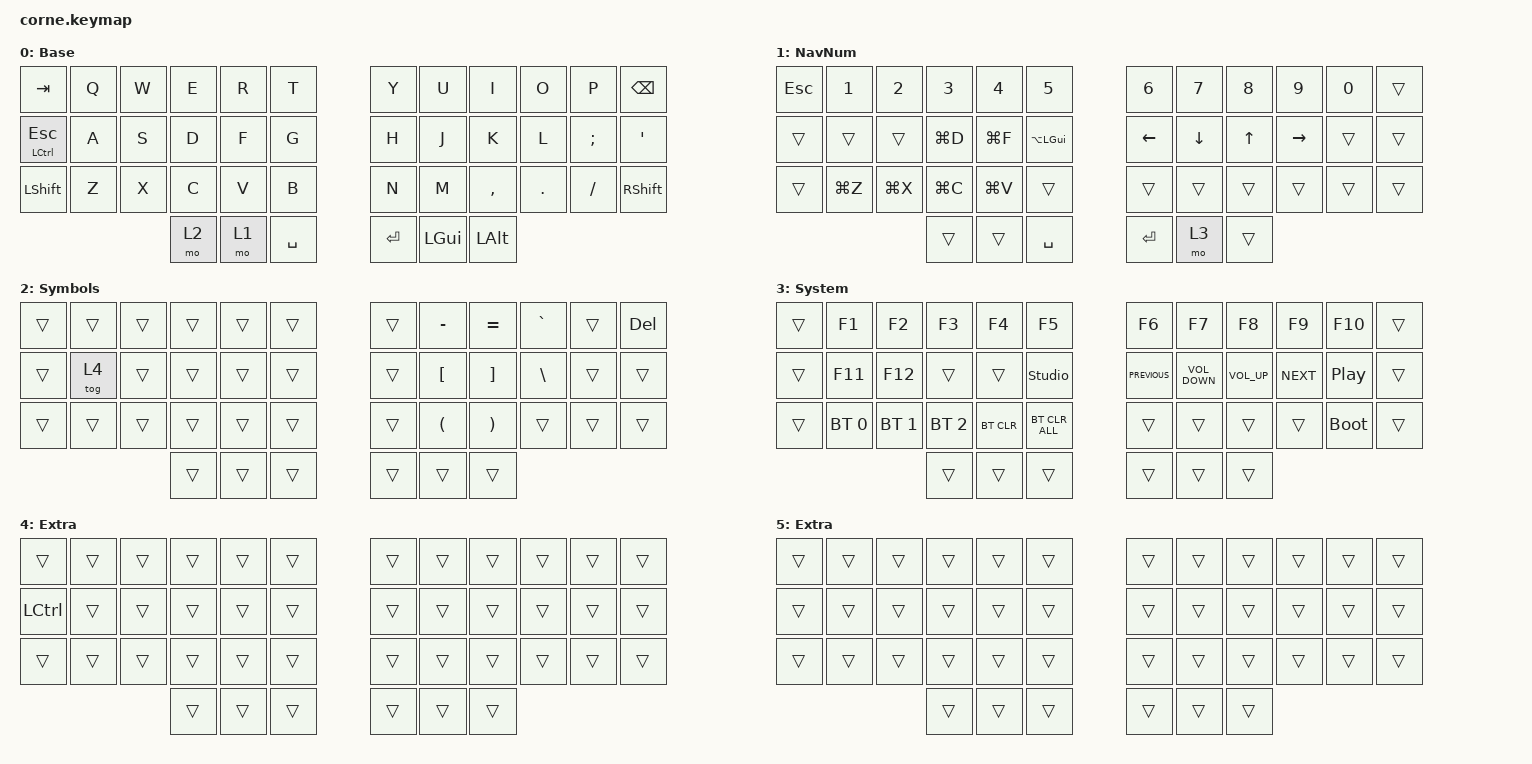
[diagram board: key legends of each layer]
#include <behaviors.dtsi>
#include <dt-bindings/zmk/bt.h>
#include <dt-bindings/zmk/keys.h>

#define DEF 0
#define NAV 1
#define SYM 2
#define ADJ 3
#define EXTRA 4

/ {
    behaviors {
        hm: homerow_mods {
            compatible = "zmk,behavior-hold-tap";
            #binding-cells = <2>;
            tapping-term-ms = <200>;
            flavor = "tap-preferred";
            bindings = <&kp>, <&kp>;

            quick-tap-ms = <180>;
            require-prior-idle-ms = <120>; /* tune to taste */
        };

        para: para {
            compatible = "zmk,behavior-tap-dance";
            #binding-cells = <0>;
            bindings = <&kp LEFT_PARENTHESIS>, <&kp RIGHT_PARENTHESIS>;
        };

        caps: caps {
            compatible = "zmk,behavior-caps-word";
            #binding-cells = <0>;
            continue-list = <MINUS BACKSPACE>;
        };

        paraless: paraless {
            compatible = "zmk,behavior-mod-morph";
            bindings = <&kp LEFT_PARENTHESIS>, <&kp LESS_THAN>;

            #binding-cells = <0>;
            mods = <(MOD_LSFT)>;
        };

        paragreat: paragreat {
            compatible = "zmk,behavior-mod-morph";
            bindings = <&kp RIGHT_PARENTHESIS>, <&kp GREATER_THAN>;

            #binding-cells = <0>;
            mods = <(MOD_LSFT)>;
        };
    };

    combos {
        compatible = "zmk,combos";

        CB_LEFT_GUI {
            bindings = <&kp LEFT_GUI>;
            key-positions = <17 29>;
        };

        CB_LEFT_ALT {
            bindings = <&kp LEFT_ALT>;
            key-positions = <16 28>;
        };

        CB_RIGHT_GUI {
            bindings = <&kp LEFT_GUI>;
            key-positions = <18 30>;
        };

        CB_RIGHT_ALT {
            bindings = <&kp LEFT_ALT>;
            key-positions = <19 31>;
        };
    };

    //

    keymap {
        compatible = "zmk,keymap";

        DEF {
            display-name = "Base";

            // -----------------------------------------------------------------------------------------
            // |  Q  |  W  |  E  |  R  |  T  |   |  Y  |  U   |  I  |  O  |  P  |
            // |  A  |  S  |  D  |  F  |  G  |   |  H  |  J   |  K  |  L  |  ;  |
            // |  Z  |  X  |  C  |  V  |  B  |   |  N  |  M   |  ,  |  .  |  /  |
            // | GUI | CTRL | SHFT | LWR | SPC |   | ENT | RSE  | BKSP | ALT | ESC |

            bindings = <
&kp TAB           &kp Q  &kp W  &kp E  &kp R  &kp T        &kp Y    &kp U         &kp I         &kp O    &kp P     &kp BACKSPACE
&mt LCTRL ESCAPE  &kp A  &kp S  &kp D  &kp F  &kp G        &kp H    &kp J         &kp K         &kp L    &kp SEMI  &kp SQT
&kp LEFT_SHIFT    &kp Z  &kp X  &kp C  &kp V  &kp B        &kp N    &kp M         &kp COMMA     &kp DOT  &kp FSLH  &kp RIGHT_SHIFT
                                &mo 2  &mo 1  &kp SPACE    &kp RET  &kp LEFT_GUI  &kp LEFT_ALT
            >;
        };

        NAV {
            display-name = "NavNum";

            // -----------------------------------------------------------------------------------------
            // |  TAB |  1  |  2  |  3  |  4  |  5  |   |  6  |  7  |  8  |  9  |  0  | BKSP |
            // | BTCLR| BT1 | BT2 | BT3 | BT4 | BT5 |   | LFT | DWN |  UP | RGT |     |      |
            // | SHFT |     |     |     |     |     |   |     |     |     |     |     |      |
            // | GUI | CTRL | SHFT | LWR | SPC |   | ENT | RSE  | BKSP | ALT | ESC |

            bindings = <
&kp ESCAPE  &kp NUMBER_1  &kp NUMBER_2  &kp NUMBER_3  &kp NUMBER_4  &kp N5              &kp N6    &kp N7    &kp N8  &kp N9     &kp N0  &trans
&trans      &trans        &trans        &kp LG(D)     &kp LG(F)     &kp LA(LEFT_GUI)    &kp LEFT  &kp DOWN  &kp UP  &kp RIGHT  &trans  &trans
&trans      &kp LG(Z)     &kp LG(X)     &kp LG(C)     &kp LG(V)     &trans              &trans    &trans    &trans  &trans     &trans  &trans
                                        &trans        &trans        &kp SPACE           &kp RET   &mo 3     &trans
            >;
        };

        SYM {
            display-name = "Symbols";

            // -----------------------------------------------------------------------------------------
            // |  TAB |  !  |  @  |  #  |  $  |  %  |   |  ^  |  &  |  *  |  (  |  )  | BKSP |
            // | CTRL |     |     |     |     |     |   |  -  |  =  |  [  |  ]  |  \  |  `   |
            // | SHFT |     |     |     |     |     |   |  _  |  +  |  {  |  }  | "|" |  ~   |
            //                    | GUI |     | SPC |   | ENT |     | ALT |

            bindings = <
&trans  &trans  &trans  &trans  &trans  &trans    &trans  &kp MINUS             &kp EQUAL              &kp GRAVE      &trans  &kp DELETE
&trans  &tog 4  &trans  &trans  &trans  &trans    &trans  &kp LEFT_BRACKET      &kp RIGHT_BRACKET      &kp BACKSLASH  &trans  &trans
&trans  &trans  &trans  &trans  &trans  &trans    &trans  &kp LEFT_PARENTHESIS  &kp RIGHT_PARENTHESIS  &trans         &trans  &trans
                        &trans  &trans  &trans    &trans  &trans                &trans
            >;
        };

        ADJ {
            display-name = "System";
            bindings = <
&trans  &kp F1        &kp F2        &kp F3        &kp F4      &kp F5            &kp F6          &kp F7             &kp F8           &kp F9      &kp F10           &trans
&trans  &kp F11       &kp F12       &trans        &trans      &studio_unlock    &kp C_PREVIOUS  &kp C_VOLUME_DOWN  &kp C_VOLUME_UP  &kp C_NEXT  &kp C_PLAY_PAUSE  &trans
&trans  &bt BT_SEL 0  &bt BT_SEL 1  &bt BT_SEL 2  &bt BT_CLR  &bt BT_CLR_ALL    &trans          &trans             &trans           &trans      &bootloader       &trans
                                    &trans        &trans      &trans            &trans          &trans             &trans
            >;
        };

        GAME {
            display-name = "Extra";
            bindings = <
&trans     &trans  &trans  &trans  &trans  &trans    &trans  &trans  &trans  &trans  &trans  &trans
&kp LCTRL  &trans  &trans  &trans  &trans  &trans    &trans  &trans  &trans  &trans  &trans  &trans
&trans     &trans  &trans  &trans  &trans  &trans    &trans  &trans  &trans  &trans  &trans  &trans
                           &trans  &trans  &trans    &trans  &trans  &trans
            >;

            label = "Game";
        };

        EXTRA {
            bindings = <
&trans  &trans  &trans  &trans  &trans  &trans    &trans  &trans  &trans  &trans  &trans  &trans
&trans  &trans  &trans  &trans  &trans  &trans    &trans  &trans  &trans  &trans  &trans  &trans
&trans  &trans  &trans  &trans  &trans  &trans    &trans  &trans  &trans  &trans  &trans  &trans
                        &trans  &trans  &trans    &trans  &trans  &trans
            >;

            label = "Extra";
        };
    };
};
